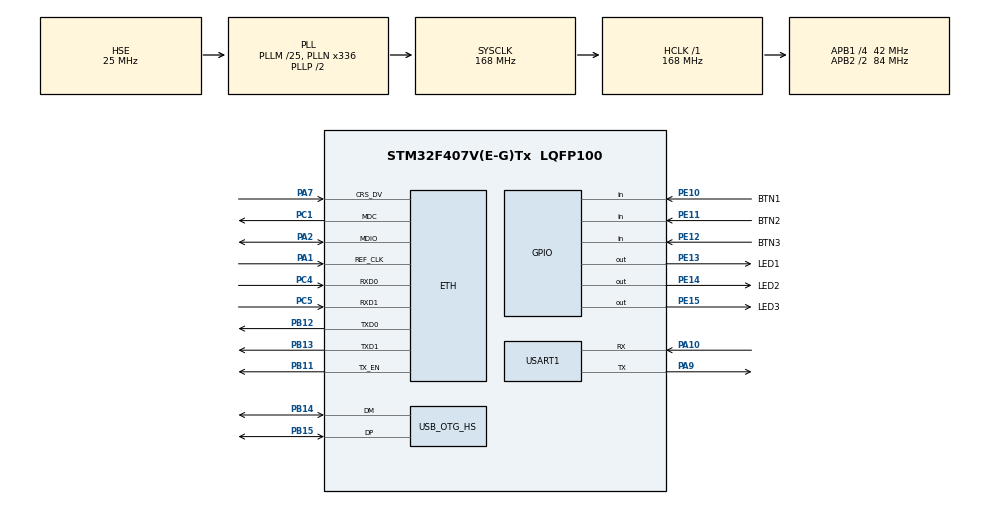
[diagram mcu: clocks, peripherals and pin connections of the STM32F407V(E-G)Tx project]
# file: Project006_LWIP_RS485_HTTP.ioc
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Dma.Request0=USART1_TX
Dma.USART1_TX.0.Direction=DMA_MEMORY_TO_PERIPH
Dma.USART1_TX.0.FIFOMode=DMA_FIFOMODE_DISABLE
Dma.USART1_TX.0.Instance=DMA2_Stream7
Dma.USART1_TX.0.MemDataAlignment=DMA_MDATAALIGN_BYTE
Dma.USART1_TX.0.MemInc=DMA_MINC_ENABLE
Dma.USART1_TX.0.Mode=DMA_NORMAL
Dma.USART1_TX.0.PeriphDataAlignment=DMA_PDATAALIGN_BYTE
Dma.USART1_TX.0.PeriphInc=DMA_PINC_DISABLE
Dma.USART1_TX.0.Priority=DMA_PRIORITY_LOW
ETH.MACAddr=D2\:7A\:3C\:9F\:B5\:E1
ETH.MediaInterface=HAL_ETH_RMII_MODE
ETH.PHY_Name_RMII=DP83848_PHY_ADDRESS
LWIP.API_LIB_DEBUG=LWIP_DBG_OFF
LWIP.API_MSG_DEBUG=LWIP_DBG_OFF
LWIP.ARP_TABLE_SIZE=127
LWIP.AUTOIP_DEBUG=LWIP_DBG_OFF
LWIP.BSP.number=1
LWIP.DHCP_DEBUG=LWIP_DBG_ON
LWIP.DNS_DEBUG=LWIP_DBG_OFF
LWIP.ETHARP_DEBUG=LWIP_DBG_OFF
LWIP.GATEWAY_ADDRESS=010.000.040.001
LWIP.ICMP_DEBUG=LWIP_DBG_OFF
LWIP.IGMP_DEBUG=LWIP_DBG_OFF
LWIP.INET_DEBUG=LWIP_DBG_OFF
LWIP.IP_ADDRESS=010.000.040.199
LWIP.IP_DEBUG=LWIP_DBG_OFF
LWIP.IP_REASS_DEBUG=LWIP_DBG_OFF
LWIP.LWIP_DBG_MIN_LEVEL=LWIP_DBG_LEVEL_ALL
LWIP.LWIP_DBG_TYPES_ON=LWIP_DBG_OFF
LWIP.LWIP_DHCP=1
LWIP.LWIP_DNS=1
LWIP.LWIP_NETIF_EXT_STATUS_CALLBACK=0
LWIP.LWIP_NETIF_STATUS_CALLBACK=1
LWIP.LWIP_RAM_HEAP_POINTER=0x20012000
LWIP.LWIP_TCP=1
LWIP.MEMP_DEBUG=LWIP_DBG_OFF
LWIP.MEM_DEBUG=LWIP_DBG_OFF
LWIP.MEM_SIZE=30000
LWIP.NETIF_DEBUG=LWIP_DBG_OFF
LWIP.NETMASK_ADDRESS=255.255.255.000
LWIP.PBUF_DEBUG=LWIP_DBG_OFF
LWIP.PBUF_POOL_BUFSIZE=1024
LWIP.PPP_DEBUG=LWIP_DBG_OFF
LWIP.RAW_DEBUG=LWIP_DBG_OFF
LWIP.SLIP_DEBUG=LWIP_DBG_OFF
LWIP.SOCKETS_DEBUG=LWIP_DBG_ON
LWIP.SYS_DEBUG=LWIP_DBG_OFF
LWIP.TCPIP_DEBUG=LWIP_DBG_OFF
LWIP.TCPIP_THREAD_PRIO=53
LWIP.TCPIP_THREAD_STACKSIZE=256
LWIP.TCP_CWND_DEBUG=LWIP_DBG_OFF
LWIP.TCP_DEBUG=LWIP_DBG_ON
LWIP.TCP_FR_DEBUG=LWIP_DBG_OFF
LWIP.TCP_INPUT_DEBUG=LWIP_DBG_OFF
LWIP.TCP_OUTPUT_DEBUG=LWIP_DBG_OFF
LWIP.TCP_QLEN_DEBUG=LWIP_DBG_OFF
LWIP.TCP_RST_DEBUG=LWIP_DBG_OFF
LWIP.TCP_RTO_DEBUG=LWIP_DBG_OFF
LWIP.TCP_SND_BUF=2048
LWIP.TCP_WND=4096
LWIP.TCP_WND_DEBUG=LWIP_DBG_OFF
LWIP.TIMERS_DEBUG=LWIP_DBG_OFF
LWIP.UDP_DEBUG=LWIP_DBG_OFF
LWIP.Version=v2.1.2_Cube
LWIP0.BSP.STBoard=false
LWIP0.BSP.api=BSP_COMPONENT_DRIVER
LWIP0.BSP.component=DP83848
LWIP0.BSP.i2caddr=0
LWIP0.BSP.instance=DP83848
LWIP0.BSP.name=Driver_PHY
LWIP0.BSP.semaphore=S_DP83848
LWIP0.BSP.solution=DP83848
Mcu.Family=STM32F4
Mcu.Name=STM32F407V(E-G)Tx
Mcu.Package=LQFP100
NVIC.DMA2_Stream7_IRQn=true\:0\:0\:false\:false\:true\:false\:true\:true
NVIC.OTG_HS_IRQn=true\:0\:0\:false\:false\:true\:false\:true\:true
NVIC.PriorityGroup=NVIC_PRIORITYGROUP_4
NVIC.TIM1_UP_TIM10_IRQn=true\:15\:0\:false\:false\:true\:false\:true\:true
NVIC.TimeBase=TIM1_UP_TIM10_IRQn
NVIC.TimeBaseIP=TIM1
NVIC.USART1_IRQn=true\:0\:0\:false\:false\:true\:true\:true\:true
PA1.Mode=RMII
PA1.Signal=ETH_REF_CLK
PA10.GPIO_PuPd=GPIO_PULLUP
PA10.Mode=Asynchronous
PA10.Signal=USART1_RX
PA13.Mode=Serial_Wire
PA13.Signal=SYS_JTMS-SWDIO
PA14.Mode=Serial_Wire
PA14.Signal=SYS_JTCK-SWCLK
PA2.Mode=RMII
PA2.Signal=ETH_MDIO
PA7.Mode=RMII
PA7.Signal=ETH_CRS_DV
PA9.GPIO_PuPd=GPIO_PULLUP
PA9.Mode=Asynchronous
PA9.Signal=USART1_TX
PB11.Mode=RMII
PB11.Signal=ETH_TX_EN
PB12.Mode=RMII
PB12.Signal=ETH_TXD0
PB13.Mode=RMII
PB13.Signal=ETH_TXD1
PB14.Mode=Host_FS
PB14.Signal=USB_OTG_HS_DM
PB15.Mode=Host_FS
PB15.Signal=USB_OTG_HS_DP
PC1.Mode=RMII
PC1.Signal=ETH_MDC
PC14-OSC32_IN.Mode=LSE-External-Clock-Source
PC14-OSC32_IN.Signal=RCC_OSC32_IN
PC15-OSC32_OUT.Mode=LSE-External-Clock-Source
PC15-OSC32_OUT.Signal=RCC_OSC32_OUT
PC4.Mode=RMII
PC4.Signal=ETH_RXD0
PC5.Mode=RMII
PC5.Signal=ETH_RXD1
PE10.GPIO_Label=BTN1
PE10.Signal=GPIO_Input
PE11.GPIO_Label=BTN2
PE11.Signal=GPIO_Input
PE12.GPIO_Label=BTN3
PE12.Signal=GPIO_Input
PE13.GPIO_Label=LED1
PE13.PinState=GPIO_PIN_SET
PE13.Signal=GPIO_Output
PE14.GPIO_Label=LED2
PE14.PinState=GPIO_PIN_SET
PE14.Signal=GPIO_Output
PE15.GPIO_Label=LED3
PE15.PinState=GPIO_PIN_SET
PE15.Signal=GPIO_Output
PH0-OSC_IN.Mode=HSE-External-Oscillator
PH0-OSC_IN.Signal=RCC_OSC_IN
PH1-OSC_OUT.Mode=HSE-External-Oscillator
PH1-OSC_OUT.Signal=RCC_OSC_OUT
ProjectManager.HeapSize=0x200
ProjectManager.StackSize=0x400
ProjectManager.TargetToolchain=STM32CubeIDE
RCC.48MHZClocksFreq_Value=48000000
RCC.AHBFreq_Value=168000000
RCC.APB1CLKDivider=RCC_HCLK_DIV4
RCC.APB1Freq_Value=42000000
RCC.APB1TimFreq_Value=84000000
RCC.APB2CLKDivider=RCC_HCLK_DIV2
RCC.APB2Freq_Value=84000000
RCC.APB2TimFreq_Value=168000000
RCC.CortexFreq_Value=168000000
RCC.HCLKFreq_Value=168000000
RCC.HSE_VALUE=25000000
RCC.HSI_VALUE=16000000
RCC.LSE_VALUE=32768
RCC.PLLM=25
RCC.PLLN=336
RCC.PLLQ=7
RCC.SYSCLKFreq_VALUE=168000000
RCC.SYSCLKSource=RCC_SYSCLKSOURCE_PLLCLK
RCC.VCOOutputFreq_Value=336000000
USART1.VirtualMode=VM_ASYNC
USB_HOST.USBH_HandleTypeDef-HID_HS=hUsbHostHS
USB_HOST.VirtualModeHS=Hid
USB_OTG_HS.VirtualMode-Host_FS=Host_FS
VP_LWIP_VS_Enabled.Mode=Enabled
VP_SYS_VS_tim1.Mode=TIM1
VP_USB_HOST_VS_USB_HOST_HID_HS.Mode=HID_HS
board=custom

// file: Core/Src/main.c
/* USER CODE BEGIN Header */
/**
  ******************************************************************************
  * @file           : main.c
  * @brief          : Main program body
  ******************************************************************************
  * @attention
  *
  * Copyright (c) 2025 STMicroelectronics.
  * All rights reserved.
  *
  * This software is licensed under terms that can be found in the LICENSE file
  * in the root directory of this software component.
  * If no LICENSE file comes with this software, it is provided AS-IS.
  *
  ******************************************************************************
  */
/* USER CODE END Header */
#include "main.h"
#include "lwip.h"
#include "usb_host.h"

/* USER CODE BEGIN Includes */
#include "stdio.h"
#include "Queue.h"
#include "string.h"
#include "log.h"
#include "log_sink_uart.h"
#include "hid_reader.h"
#include "config.h"

/* USER CODE END Includes */

/* USER CODE BEGIN PD */
#define DMA_RX_BUFFER_SIZE 128
/* USER CODE END PD */

 UART_HandleTypeDef huart1;
DMA_HandleTypeDef hdma_usart1_tx;

/* USER CODE BEGIN PV */
uint8_t rx_buffer_dma[DMA_RX_BUFFER_SIZE];

__attribute__((section(".ccmram"))) Queue queue;
/* USER CODE END PV */

void SystemClock_Config(void);
static void MX_GPIO_Init(void);
static void MX_DMA_Init(void);
static void MX_USART1_UART_Init(void);
void MX_USB_HOST_Process(void);

/* USER CODE BEGIN PFP */
/* _write() retarget log.c da - bloklamaydigan DMA halqa buferi orqali */
/* USER CODE END PFP */

int main(void)
{
  /* USER CODE BEGIN 1 */
  /*
   * BOOT BOSQICHLARI - diagnostika.
   *
   * LED2 har bosqichda bir dona ko'p miltillaydi. Oxirgi ko'rgan sanog'ingiz
   * kod qayergacha yetganini bildiradi:
   *
   *   1 - main() ga kirildi (startup sog'lom)
   *
   * Keyingi bosqichlarni kuzatish kerak bo'lsa, tegishli joyga Boot_Mark(2),
   * Boot_Mark(3), ... qo'shiladi. Log_Init() dan keyin PA9 AF7 push-pull
   * bo'ladi (ya'ni {00} oqimi to'xtaydi) va printf terminalga chiqa boshlaydi.
   *
   * Diagnostika tugagach Boot_Mark() chaqiruvlarini olib tashlash mumkin.
   */
  Boot_Mark(1);
  /* USER CODE END 1 */

  /* MCU Configuration--------------------------------------------------------*/

  /* Reset of all peripherals, Initializes the Flash interface and the Systick. */
  HAL_Init();

  /* Configure the system clock */
  SystemClock_Config();

  /* USER CODE BEGIN SysInit */
  /* Log ning 1-bosqichi: stdout ni statik buferga o'tkazadi va halqa buferni
     ochadi. Chiqish kanali hali yo'q (USART CubeMX da MX_..._Init() da
     ko'tariladi), shuning uchun shu yerdan keyingi printf lar buferda
     to'planib turadi va kanal ulangach hammasi birdan chiqadi.
     BIRINCHI printf dan OLDIN chaqirilishi shart - aks holda newlib
     stdout uchun buferni o'zi malloc qilib oladi. */
  Log_Init(NULL);

  Queue_Init(&queue);
  HidReader_Init(&queue);
  /* USER CODE END SysInit */

  /* Initialize all configured peripherals */
  MX_GPIO_Init();
  MX_LWIP_Init();
  MX_DMA_Init();
  MX_USB_HOST_Init();
  MX_USART1_UART_Init();
  /* USER CODE BEGIN 2 */
  /* Log ning 2-bosqichi: CubeMX sozlab bergan UART ni chiqish kanali qilib
     ulaymiz. Shu qatordan keyin yuqorida to'plangan hamma narsa ham chiqadi.
     #ifdef kerak: USART .ioc da yoqilmaguncha huart1 ham, HAL UART drayveri
     ham mavjud emas - u holda loyiha baribir yig'iladi, printf esa jimgina
     tashlanadi. Boshqa kanalga (USB CDC, TCP, boshqa UART) o'tish uchun
     faqat shu qatorni almashtirish yetarli. */
#ifdef HAL_UART_MODULE_ENABLED
  Log_Init(LogSinkUart_Create(&huart1));
#endif

  printf("\n==============================\n");
  printf("  QR50BE Gateway v1.0\n");
  printf("  Queue: %u element\n", (unsigned)QUEUE_MAX_ITEMS);
  printf("  SYSCLK: %lu Hz | PCLK2: %lu Hz\n",
         (unsigned long)HAL_RCC_GetSysClockFreq(),
         (unsigned long)HAL_RCC_GetPCLK2Freq());
  printf("==============================\n");
  LOG_OK("SYS", "Barcha periferiyalar tayyor");

  /* Sozlamalar flash dan o'qiladi. Log_SetEnabled() ataylab shundan KEYIN
     qo'llanadi: banner va CFG satrlari debug holatidan qat'i nazar chiqsin,
     shunda qurilma "jim" bo'lib qolsa ham sababi terminalda ko'rinadi. */
  Config_Init();
  Log_SetEnabled(Config_IsDebugEnabled());
  /* USER CODE END 2 */

  /* Infinite loop */
  /* USER CODE BEGIN WHILE */
  while (1)
  {
	  MX_LWIP_Process();
    /* USER CODE END WHILE */
    MX_USB_HOST_Process();

    /* USER CODE BEGIN 3 */
	  HidReader_Process();
	  Proccess();

	  /* Heartbeat: main loop aylanayotganini ko'rsatadi. Uzluksiz miltillasa
	     proshivka to'liq ishlayapti va muammo faqat UART ulanishida.
	     (Proccess() ichidagi SuccessLED/FailLED vaqtincha aralashishi mumkin) */
	  {
	    static uint32_t hb_last = 0;
	    if ((HAL_GetTick() - hb_last) >= 250u)
	    {
	      hb_last = HAL_GetTick();
	      HAL_GPIO_TogglePin(LED2_GPIO_Port, LED2_Pin);
	    }
	  }
  }
  /* USER CODE END 3 */
}

void SystemClock_Config(void)
{
  RCC_OscInitTypeDef RCC_OscInitStruct = {0};
  RCC_ClkInitTypeDef RCC_ClkInitStruct = {0};

  /** Configure the main internal regulator output voltage
  */
  __HAL_RCC_PWR_CLK_ENABLE();
  __HAL_PWR_VOLTAGESCALING_CONFIG(PWR_REGULATOR_VOLTAGE_SCALE1);

  /** Initializes the RCC Oscillators according to the specified parameters
  * in the RCC_OscInitTypeDef structure.
  */
  RCC_OscInitStruct.OscillatorType = RCC_OSCILLATORTYPE_HSE;
  RCC_OscInitStruct.HSEState = RCC_HSE_ON;
  RCC_OscInitStruct.PLL.PLLState = RCC_PLL_ON;
  RCC_OscInitStruct.PLL.PLLSource = RCC_PLLSOURCE_HSE;
  RCC_OscInitStruct.PLL.PLLM = 25;
  RCC_OscInitStruct.PLL.PLLN = 336;
  RCC_OscInitStruct.PLL.PLLP = RCC_PLLP_DIV2;
  RCC_OscInitStruct.PLL.PLLQ = 7;
  if (HAL_RCC_OscConfig(&RCC_OscInitStruct) != HAL_OK)
  {
    Error_Handler();
  }

  /** Initializes the CPU, AHB and APB buses clocks
  */
  RCC_ClkInitStruct.ClockType = RCC_CLOCKTYPE_HCLK|RCC_CLOCKTYPE_SYSCLK
                              |RCC_CLOCKTYPE_PCLK1|RCC_CLOCKTYPE_PCLK2;
  RCC_ClkInitStruct.SYSCLKSource = RCC_SYSCLKSOURCE_PLLCLK;
  RCC_ClkInitStruct.AHBCLKDivider = RCC_SYSCLK_DIV1;
  RCC_ClkInitStruct.APB1CLKDivider = RCC_HCLK_DIV4;
  RCC_ClkInitStruct.APB2CLKDivider = RCC_HCLK_DIV2;

  if (HAL_RCC_ClockConfig(&RCC_ClkInitStruct, FLASH_LATENCY_5) != HAL_OK)
  {
    Error_Handler();
  }
}

static void MX_USART1_UART_Init(void)
{

  huart1.Instance = USART1;
  huart1.Init.BaudRate = 115200;
  huart1.Init.WordLength = UART_WORDLENGTH_8B;
  huart1.Init.StopBits = UART_STOPBITS_1;
  huart1.Init.Parity = UART_PARITY_NONE;
  huart1.Init.Mode = UART_MODE_TX_RX;
  huart1.Init.HwFlowCtl = UART_HWCONTROL_NONE;
  huart1.Init.OverSampling = UART_OVERSAMPLING_16;
  if (HAL_UART_Init(&huart1) != HAL_OK)
  {
    Error_Handler();
  }

}

static void MX_DMA_Init(void)
{

  /* DMA controller clock enable */
  __HAL_RCC_DMA2_CLK_ENABLE();

  /* DMA interrupt init */
  /* DMA2_Stream7_IRQn interrupt configuration */
  HAL_NVIC_SetPriority(DMA2_Stream7_IRQn, 0, 0);
  HAL_NVIC_EnableIRQ(DMA2_Stream7_IRQn);

}

static void MX_GPIO_Init(void)
{
  GPIO_InitTypeDef GPIO_InitStruct = {0};

  /* GPIO Ports Clock Enable */
  __HAL_RCC_GPIOC_CLK_ENABLE();
  __HAL_RCC_GPIOH_CLK_ENABLE();
  __HAL_RCC_GPIOA_CLK_ENABLE();
  __HAL_RCC_GPIOE_CLK_ENABLE();
  __HAL_RCC_GPIOB_CLK_ENABLE();

  /*Configure GPIO pin Output Level */
  HAL_GPIO_WritePin(GPIOE, LED1_Pin|LED2_Pin|LED3_Pin, GPIO_PIN_SET);

  /*Configure GPIO pins : BTN1_Pin BTN2_Pin BTN3_Pin */
  GPIO_InitStruct.Pin = BTN1_Pin|BTN2_Pin|BTN3_Pin;
  GPIO_InitStruct.Mode = GPIO_MODE_INPUT;
  GPIO_InitStruct.Pull = GPIO_NOPULL;
  HAL_GPIO_Init(GPIOE, &GPIO_InitStruct);

  /*Configure GPIO pins : LED1_Pin LED2_Pin LED3_Pin */
  GPIO_InitStruct.Pin = LED1_Pin|LED2_Pin|LED3_Pin;
  GPIO_InitStruct.Mode = GPIO_MODE_OUTPUT_PP;
  GPIO_InitStruct.Pull = GPIO_NOPULL;
  GPIO_InitStruct.Speed = GPIO_SPEED_FREQ_LOW;
  HAL_GPIO_Init(GPIOE, &GPIO_InitStruct);

}

void HAL_TIM_PeriodElapsedCallback(TIM_HandleTypeDef *htim)
{
  if (htim->Instance == TIM1) {
    HAL_IncTick();
  }
}

void Error_Handler(void)
{
  /* USER CODE BEGIN Error_Handler_Debug */
  /* Log_Panic() qaytmaydi: buferni chiqaradi va LED larni o'zi sozlab
     miltillaydi. Eski kod LED larni to'g'ridan-to'g'ri toggle qilardi va
     SystemClock_Config() dan chaqirilganda (GPIOE kloki hali yoqilmagan)
     hech qanday belgi bermay jimgina qotib qolardi. */
  Log_Panic("Error_Handler", LOG_PANIC_ERROR_HANDLER);
  /* USER CODE END Error_Handler_Debug */
}
